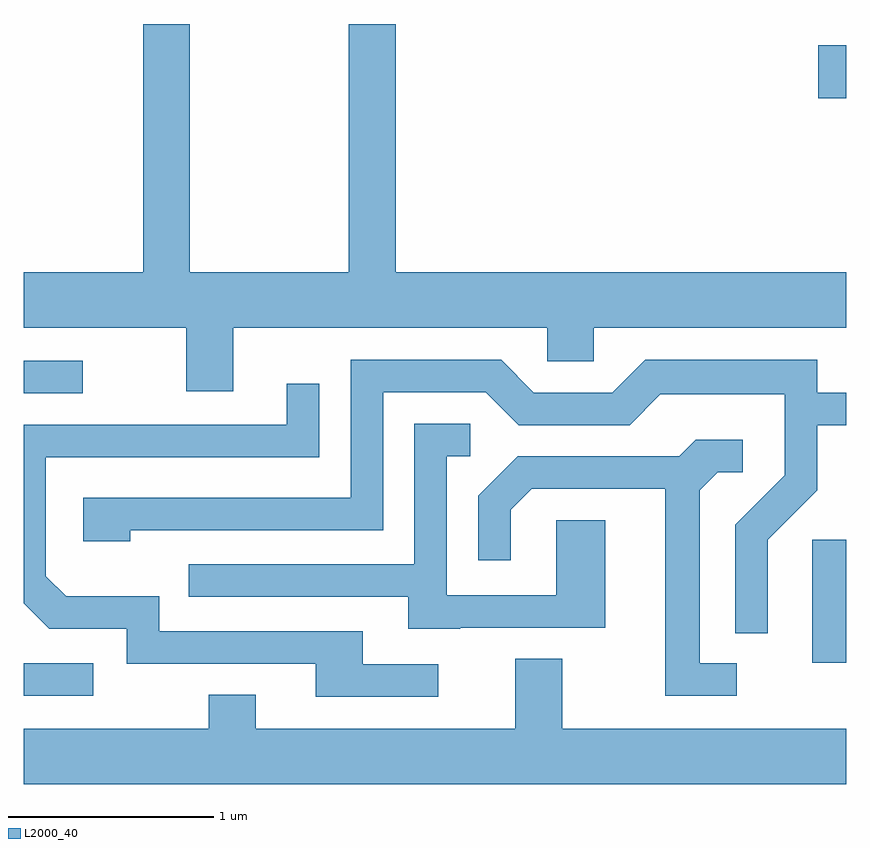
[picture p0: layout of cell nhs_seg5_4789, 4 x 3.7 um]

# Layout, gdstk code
import gdstk
lib = gdstk.Library(unit=1e-6, precision=1e-09)
def R(c, l, rs):  # rectangles x0, y0, x1, y1
    for r in rs: c.add(gdstk.rectangle(r[:2], r[2:], *l))
def P(c, l, *ps):  # polygons
    for p in ps: c.add(gdstk.Polygon(p, *l))
L2000_40 = (2000, 40)

nhs_seg5_4789 = lib.new_cell('nhs_seg5_4789')
R(nhs_seg5_4789, L2000_40, [(327.611,1432.806,327.948,1432.964), (331.446,1432.966,331.611,1433.564), (327.611,1434.276,327.898,1434.434), (331.476,1435.711,331.611,1435.969)])
P(nhs_seg5_4789, L2000_40, [(328.629,1434.596),(330.156,1434.596),(330.156,1434.431),(330.384,1434.431),(330.384,1434.596),(331.611,1434.596),(331.611,1434.864),(329.419,1434.864),(329.419,1436.072),(329.191,1436.072),(329.191,1434.864),(328.419,1434.864),(328.419,1436.072),(328.191,1436.072),(328.191,1434.864),(327.611,1434.864),(327.611,1434.596),(328.401,1434.596),(328.401,1434.286),(328.629,1434.286)],
  [(331.229,1433.564),(331.469,1433.804),(331.469,1434.121),(331.611,1434.121),(331.611,1434.279),(331.469,1434.279),(331.469,1434.439),(330.634,1434.439),(330.474,1434.279),(330.092,1434.279),(329.932,1434.439),(329.201,1434.439),(329.201,1433.769),(327.901,1433.769),(327.901,1433.556),(328.129,1433.556),(328.129,1433.611),(329.359,1433.611),(329.359,1434.281),(329.859,1434.281),(330.019,1434.121),(330.557,1434.121),(330.707,1434.271),(331.311,1434.271),(331.311,1433.877),(331.071,1433.637),(331.071,1433.108),(331.229,1433.108)],
  [(329.628,1432.959),(329.259,1432.959),(329.259,1433.119),(328.269,1433.119),(328.269,1433.289),(327.817,1433.289),(327.719,1433.387),(327.719,1433.966),(329.049,1433.966),(329.049,1434.323),(328.891,1434.323),(328.891,1434.124),(327.611,1434.124),(327.611,1433.254),(327.734,1433.131),(328.111,1433.131),(328.111,1432.961),(329.031,1432.961),(329.031,1432.801),(329.628,1432.801)],
  [(329.735,1433.136),(330.439,1433.136),(330.439,1433.659),(330.201,1433.659),(330.201,1433.294),(329.669,1433.294),(329.669,1433.971),(329.783,1433.971),(329.783,1434.129),(329.511,1434.129),(329.511,1433.444),(328.413,1433.444),(328.413,1433.286),(329.481,1433.286),(329.481,1433.131),(329.735,1433.131)],
  [(331.078,1432.964),(330.899,1432.964),(330.899,1433.804),(330.987,1433.891),(331.108,1433.891),(331.108,1434.049),(330.879,1434.049),(330.799,1433.969),(330.014,1433.969),(329.821,1433.777),(329.821,1433.463),(329.979,1433.463),(329.979,1433.709),(330.082,1433.811),(330.731,1433.811),(330.731,1432.806),(331.078,1432.806)],
  [(331.611,1432.644),(330.229,1432.644),(330.229,1432.984),(330.001,1432.984),(330.001,1432.644),(328.739,1432.644),(328.739,1432.809),(328.511,1432.809),(328.511,1432.644),(327.611,1432.644),(327.611,1432.376),(331.611,1432.376)])

lib.write_gds('nhs_seg5_4789.gds')
